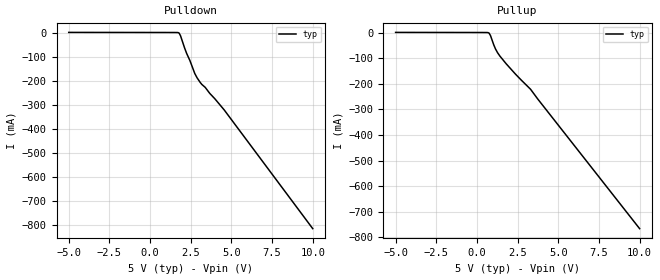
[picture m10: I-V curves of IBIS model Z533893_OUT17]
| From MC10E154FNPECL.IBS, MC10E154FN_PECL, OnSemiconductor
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| (C) COPYRIGHT 1993-2000
| MENTOR GRAPHICS CORPORATION
| ICX STANDARD LIBRARY, ICX PROJECT MODELING,
| ICX CUSTOM MODELING, ICX VENDOR MODEL
| ALL RIGHTS RESERVED.
| THE FOLLOWING ARE TRADEMARKS OR SERVICE MARKS OF
| MENTOR GRAPHICS CORPORATION:ICX (R), ICX STANDARD
| LIBRARY(R), ICX PROJECT MODELING(R), ICX CUSTOM
| MODELING(R), qualityIBIS(TM), MODELVIEWER(TM),
| AND MODELEDITOR(TM)
| ALL COPIES OF SOFTWARE, INCLUDING BUT NOT LIMITED TO
| ANY MODIFICATIONS, ENHANCEMENTS OR DERIVATIVE WORKS,
| MUST CONTAIN ALL MENTOR GRAPHICS CORPORATION'S
| NOTICES AND LEGENDS, INCLUDING THOSE EMBEDDED IN
| SOFTWARE AND THOSE AFFIXED TO SOFTWARE MEDIUM
| AND CONTAINER, AS RECEIVED FROM MENTOR GRAPHICS
| CORPORATION.
| Model Application Version 1.89 2/18/99.
[Model] Z533893_OUT17
Model_type Output_ECL
Vref=3.000V
Rref=50.00ohms
Cref=0.000F
Vmeas=3.700V
C_comp 8.000pF NA NA
| variable typ   min   max
[Voltage Range] 5.000V NA NA
[POWER Clamp Reference] 5.000V NA NA
[Pullup Reference] 5.000V NA NA
[Pulldown Reference] 5.000V NA NA
[GND Clamp Reference] 0.000V NA NA
[GND Clamp]
-5V       0A         NA         NA
10V       0A         NA         NA
[Pulldown]
-5V       530.8uA    NA         NA
1.464V    124.2uA    NA         NA
1.786V    -2.498mA   NA         NA
1.871V    -13.21mA   NA         NA
2.252V    -87.59mA   NA         NA
2.447V    -116.4mA   NA         NA
2.748V    -170.6mA   NA         NA
3.071V    -206.8mA   NA         NA
3.391V    -228.5mA   NA         NA
3.663V    -253mA     NA         NA
4.556V    -322.3mA   NA         NA
10V       -816.9mA   NA         NA
[Pullup]
-5V       649.1uA    NA         NA
742mV     -1.919mA   NA         NA
830mV     -11.28mA   NA         NA
1.136V    -63.45mA   NA         NA
1.406V    -91.49mA   NA         NA
2.373V    -162.7mA   NA         NA
3.296V    -221.6mA   NA         NA
10V       -766.3mA   NA         NA
[POWER Clamp]
-5V       0A         NA         NA
10V       0A         NA         NA
[Ramp]
| variable typ min max
dV/dt_r 607.3m/1.218n NA NA
dV/dt_f 607.3m/1.079n NA NA
R_load = 500.0Ohms
